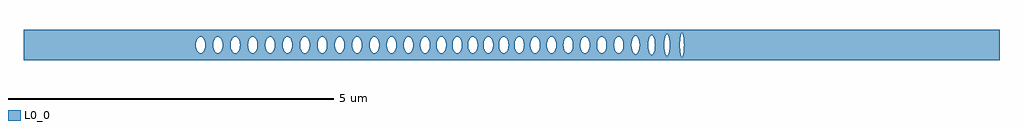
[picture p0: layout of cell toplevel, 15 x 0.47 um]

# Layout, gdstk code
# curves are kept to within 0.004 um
import gdstk
lib = gdstk.Library(unit=1e-6, precision=1e-09)
def P(c, l, *ps):  # polygons
    for p in ps: c.add(gdstk.Polygon(p, *l))
L0_0 = (0, 0)

toplevel = lib.new_cell('toplevel')
P(toplevel, L0_0, [(-4.314,0.032),(-4.306,0.068),(-4.283,0.108),(-4.283,0.234),(-7.5,0.234),(-7.5,-0.016),(-4.851,-0.016),(-4.848,0.039),(-4.835,0.081),(-4.806,0.119),(-4.779,0.128),(-4.752,0.119),(-4.729,0.093),(-4.713,0.054),(-4.707,-0.008),(-4.584,-0.008),(-4.579,0.047),(-4.561,0.093),(-4.538,0.119),(-4.512,0.128),(-4.485,0.119),(-4.465,0.098),(-4.45,0.068),(-4.439,0.008),(-4.444,-0.047),(-4.462,-0.093),(-4.485,-0.119),(-4.512,-0.128),(-4.538,-0.119),(-4.558,-0.098),(-4.573,-0.068),(-4.584,-0.008),(-4.707,-0.008),(-4.713,-0.054),(-4.729,-0.093),(-4.752,-0.119),(-4.779,-0.128),(-4.806,-0.119),(-4.825,-0.098),(-4.84,-0.068),(-4.851,-0.016),(-7.5,-0.016),(-7.5,-0.234),(-4.283,-0.234),(-4.283,-0.108),(-4.312,-0.047),(-4.317,-0.008)],
  [(-4.275,0.115),(-4.244,0.128),(-4.209,0.112),(-4.183,0.068),(-4.172,0),(-4.05,0),(-4.043,0.054),(-4.027,0.093),(-4.004,0.119),(-3.977,0.128),(-3.964,0.125),(-3.938,0.108),(-3.921,0.081),(-3.908,0.039),(-3.905,-0.016),(-3.916,-0.068),(-3.931,-0.098),(-3.95,-0.119),(-3.977,-0.128),(-4.004,-0.119),(-4.027,-0.093),(-4.043,-0.054),(-4.05,0),(-4.172,0),(-4.183,-0.068),(-4.209,-0.112),(-4.244,-0.128),(-4.271,-0.119),(-4.283,-0.108),(-4.283,-0.234),(-3.71,-0.234),(-3.71,-0.128),(-3.737,-0.119),(-3.756,-0.098),(-3.771,-0.068),(-3.782,-0.016),(-3.779,0.039),(-3.766,0.081),(-3.737,0.119),(-3.71,0.128),(-3.71,0.234),(-4.283,0.234),(-4.283,0.108)],
  [(-3.71,0.234),(-3.71,0.128),(-3.683,0.119),(-3.66,0.093),(-3.644,0.054),(-3.638,-0.008),(-3.515,-0.008),(-3.512,0.039),(-3.492,0.093),(-3.469,0.119),(-3.443,0.128),(-3.416,0.119),(-3.396,0.098),(-3.379,0.061),(-3.37,0.008),(-3.375,-0.047),(-3.393,-0.093),(-3.416,-0.119),(-3.443,-0.128),(-3.469,-0.119),(-3.489,-0.098),(-3.504,-0.068),(-3.515,-0.008),(-3.638,-0.008),(-3.644,-0.054),(-3.66,-0.093),(-3.683,-0.119),(-3.71,-0.128),(-3.71,-0.234),(-3.107,-0.234),(-3.107,-0.042),(-3.117,-0.075),(-3.137,-0.108),(-3.162,-0.125),(-3.189,-0.125),(-3.21,-0.112),(-3.225,-0.093),(-3.243,-0.047),(-3.248,-0.008),(-3.246,0.032),(-3.234,0.075),(-3.214,0.108),(-3.189,0.125),(-3.162,0.125),(-3.137,0.108),(-3.117,0.075),(-3.107,0.039),(-3.107,0.234)],
  [(-3.104,-0.016),(-3.107,-0.234),(-2.441,-0.234),(-2.441,-0.047),(-2.446,-0.016),(-2.441,0.234),(-3.107,0.234),(-3.103,0),(-2.981,0),(-2.974,0.054),(-2.958,0.093),(-2.935,0.119),(-2.908,0.128),(-2.882,0.119),(-2.855,0.087),(-2.839,0.039),(-2.836,-0.016),(-2.713,-0.016),(-2.708,0.047),(-2.697,0.081),(-2.68,0.108),(-2.668,0.119),(-2.641,0.128),(-2.614,0.119),(-2.591,0.093),(-2.577,0.061),(-2.569,-0.016),(-2.575,-0.054),(-2.591,-0.093),(-2.606,-0.112),(-2.627,-0.125),(-2.654,-0.125),(-2.68,-0.108),(-2.702,-0.068),(-2.713,-0.016),(-2.836,-0.016),(-2.847,-0.068),(-2.862,-0.098),(-2.882,-0.119),(-2.908,-0.128),(-2.935,-0.119),(-2.958,-0.093),(-2.974,-0.054),(-2.981,0),(-3.103,0)],
  [(-2.432,0.075),(-2.4,0.119),(-2.374,0.128),(-2.36,0.125),(-2.335,0.108),(-2.315,0.075),(-2.306,0.047),(-2.302,-0.016),(-2.179,-0.016),(-2.173,0.054),(-2.157,0.093),(-2.134,0.119),(-2.098,0.126),(-2.072,0.112),(-2.051,0.081),(-2.038,0.039),(-2.035,-0.016),(-2.046,-0.068),(-2.061,-0.098),(-2.08,-0.119),(-2.107,-0.128),(-2.134,-0.119),(-2.157,-0.093),(-2.171,-0.061),(-2.179,-0.016),(-2.302,-0.016),(-2.306,-0.047),(-2.324,-0.093),(-2.347,-0.119),(-2.374,-0.128),(-2.409,-0.112),(-2.423,-0.093),(-2.441,-0.048),(-2.441,-0.234),(-1.847,-0.234),(-1.847,-0.127),(-1.878,-0.112),(-1.896,-0.087),(-1.915,-0.016),(-1.912,0.039),(-1.899,0.081),(-1.878,0.112),(-1.847,0.127),(-1.847,0.234),(-2.441,0.234),(-2.441,0.047)],
  [(-1.847,0.234),(-1.847,0.127),(-1.816,0.119),(-1.793,0.093),(-1.777,0.054),(-1.771,-0.016),(-1.655,-0.016),(-1.652,0.039),(-1.641,0.075),(-1.618,0.112),(-1.583,0.128),(-1.556,0.119),(-1.533,0.093),(-1.515,0.047),(-1.51,0.008),(-1.515,-0.047),(-1.533,-0.093),(-1.556,-0.119),(-1.583,-0.128),(-1.609,-0.119),(-1.629,-0.098),(-1.644,-0.068),(-1.655,-0.016),(-1.771,-0.016),(-1.777,-0.054),(-1.793,-0.093),(-1.816,-0.119),(-1.847,-0.127),(-1.847,-0.234),(-1.264,-0.234),(-1.264,-0.061),(-1.278,-0.093),(-1.301,-0.119),(-1.328,-0.128),(-1.341,-0.125),(-1.363,-0.112),(-1.377,-0.093),(-1.389,-0.068),(-1.4,-0.016),(-1.398,0.032),(-1.389,0.068),(-1.374,0.098),(-1.354,0.119),(-1.328,0.128),(-1.301,0.119),(-1.278,0.093),(-1.264,0.061),(-1.264,0.234)],
  [(-1.258,-0.032),(-1.264,-0.061),(-1.264,-0.234),(-0.652,-0.234),(-0.652,-0.075),(-0.666,-0.016),(-0.663,0.039),(-0.652,0.074),(-0.652,0.234),(-1.264,0.234),(-1.264,0.06),(-1.255,0),(-1.151,0),(-1.146,0.047),(-1.128,0.093),(-1.105,0.119),(-1.078,0.128),(-1.052,0.119),(-1.025,0.087),(-1.009,0.039),(-1.006,-0.016),(-0.906,-0.016),(-0.901,0.047),(-0.89,0.081),(-0.873,0.108),(-0.861,0.119),(-0.834,0.128),(-0.807,0.119),(-0.784,0.093),(-0.77,0.061),(-0.762,-0.016),(-0.768,-0.054),(-0.784,-0.093),(-0.799,-0.112),(-0.82,-0.125),(-0.847,-0.125),(-0.873,-0.108),(-0.895,-0.068),(-0.906,-0.016),(-1.006,-0.016),(-1.017,-0.068),(-1.032,-0.098),(-1.052,-0.119),(-1.078,-0.128),(-1.105,-0.119),(-1.128,-0.093),(-1.146,-0.047),(-1.151,0),(-1.255,0)],
  [(-0.19,0.016),(-0.18,0.068),(-0.165,0.098),(-0.145,0.119),(-0.119,0.128),(-0.119,0.234),(-0.652,0.234),(-0.652,0.075),(-0.62,0.119),(-0.594,0.128),(-0.567,0.119),(-0.544,0.093),(-0.53,0.061),(-0.522,-0.016),(-0.428,-0.016),(-0.425,0.039),(-0.412,0.081),(-0.391,0.112),(-0.356,0.128),(-0.329,0.119),(-0.306,0.093),(-0.29,0.054),(-0.283,0),(-0.29,-0.054),(-0.306,-0.093),(-0.329,-0.119),(-0.351,-0.127),(-0.382,-0.119),(-0.402,-0.098),(-0.417,-0.068),(-0.428,-0.016),(-0.522,-0.016),(-0.526,-0.047),(-0.544,-0.093),(-0.559,-0.112),(-0.58,-0.125),(-0.594,-0.128),(-0.62,-0.119),(-0.652,-0.075),(-0.652,-0.234),(-0.119,-0.234),(-0.119,-0.128),(-0.153,-0.112),(-0.177,-0.075),(-0.189,-0.032)],
  [(0.294,0.032),(0.311,0.087),(0.338,0.119),(0.364,0.128),(0.378,0.125),(0.399,0.112),(0.414,0.093),(0.414,0.234),(-0.119,0.234),(-0.119,0.128),(-0.092,0.119),(-0.069,0.093),(-0.051,0.047),(-0.047,-0.016),(0.048,-0.016),(0.051,0.039),(0.064,0.081),(0.085,0.112),(0.12,0.128),(0.147,0.119),(0.17,0.093),(0.188,0.047),(0.193,0),(0.188,-0.047),(0.17,-0.093),(0.147,-0.119),(0.12,-0.128),(0.094,-0.119),(0.074,-0.098),(0.059,-0.068),(0.048,-0.016),(-0.047,-0.016),(-0.057,-0.068),(-0.072,-0.098),(-0.092,-0.119),(-0.119,-0.128),(-0.119,-0.234),(0.414,-0.234),(0.414,-0.093),(0.391,-0.119),(0.364,-0.128),(0.325,-0.108),(0.308,-0.081),(0.295,-0.039)],
  [(1.059,-0.032),(1.061,0.234),(0.414,0.234),(0.414,0.093),(0.432,0.047),(0.436,-0.008),(0.543,-0.008),(0.546,0.039),(0.566,0.093),(0.589,0.119),(0.615,0.128),(0.642,0.119),(0.665,0.093),(0.683,0.047),(0.688,-0.008),(0.799,-0.008),(0.804,0.047),(0.822,0.093),(0.845,0.119),(0.872,0.128),(0.898,0.119),(0.918,0.098),(0.933,0.068),(0.944,0.008),(0.939,-0.047),(0.921,-0.093),(0.898,-0.119),(0.872,-0.128),(0.845,-0.119),(0.825,-0.098),(0.81,-0.068),(0.799,-0.008),(0.688,-0.008),(0.683,-0.047),(0.665,-0.093),(0.642,-0.119),(0.615,-0.128),(0.589,-0.119),(0.569,-0.098),(0.554,-0.068),(0.543,-0.008),(0.436,-0.008),(0.432,-0.047),(0.414,-0.093),(0.414,-0.234),(1.061,-0.234)],
  [(1.576,0.016),(1.582,0.054),(1.598,0.093),(1.621,0.119),(1.652,0.127),(1.652,0.234),(1.061,0.234),(1.061,0.039),(1.083,0.098),(1.103,0.119),(1.129,0.128),(1.156,0.119),(1.179,0.093),(1.197,0.047),(1.202,-0.008),(1.315,-0.008),(1.32,0.047),(1.338,0.093),(1.361,0.119),(1.387,0.128),(1.414,0.119),(1.434,0.098),(1.449,0.068),(1.46,0.008),(1.455,-0.047),(1.437,-0.093),(1.414,-0.119),(1.387,-0.128),(1.361,-0.119),(1.341,-0.098),(1.326,-0.068),(1.315,-0.008),(1.202,-0.008),(1.191,-0.068),(1.176,-0.098),(1.156,-0.119),(1.129,-0.128),(1.103,-0.119),(1.083,-0.098),(1.061,-0.042),(1.061,-0.234),(1.652,-0.234),(1.652,-0.127),(1.621,-0.119),(1.598,-0.093),(1.582,-0.054)],
  [(1.717,-0.039),(1.704,-0.081),(1.687,-0.108),(1.652,-0.127),(1.652,-0.234),(2.181,-0.234),(2.181,-0.131),(2.16,-0.153),(2.147,-0.153),(2.134,-0.143),(2.111,-0.09),(2.102,-0.029),(2.105,0.057),(2.12,0.118),(2.134,0.143),(2.147,0.153),(2.167,0.149),(2.181,0.13),(2.181,0.234),(1.652,0.234),(1.652,0.127),(1.683,0.112),(1.704,0.081),(1.717,0.039),(1.719,-0.018),(1.844,-0.018),(1.848,0.052),(1.858,0.09),(1.876,0.123),(1.898,0.14),(1.914,0.14),(1.933,0.127),(1.949,0.103),(1.961,0.068),(1.968,0.018),(1.961,-0.068),(1.943,-0.114),(1.914,-0.14),(1.887,-0.134),(1.866,-0.108),(1.848,-0.052),(1.844,-0.018),(1.719,-0.018)],
  [(7.5,-0.234),(7.5,0.234),(2.181,0.234),(2.181,0.13),(2.198,0.082),(2.206,0),(2.348,0),(2.352,0.071),(2.362,0.122),(2.377,0.159),(2.393,0.167),(2.413,0.141),(2.423,0.106),(2.432,-0.011),(2.588,-0.011),(2.594,0.106),(2.601,0.146),(2.618,0.18),(2.63,0.171),(2.639,0.146),(2.652,0.011),(2.646,-0.106),(2.634,-0.163),(2.622,-0.18),(2.61,-0.171),(2.601,-0.146),(2.588,-0.011),(2.432,-0.011),(2.419,-0.122),(2.406,-0.155),(2.388,-0.167),(2.372,-0.151),(2.356,-0.098),(2.348,0),(2.206,0),(2.198,-0.082),(2.181,-0.13),(2.181,-0.234)])

lib.write_gds('toplevel.gds')
